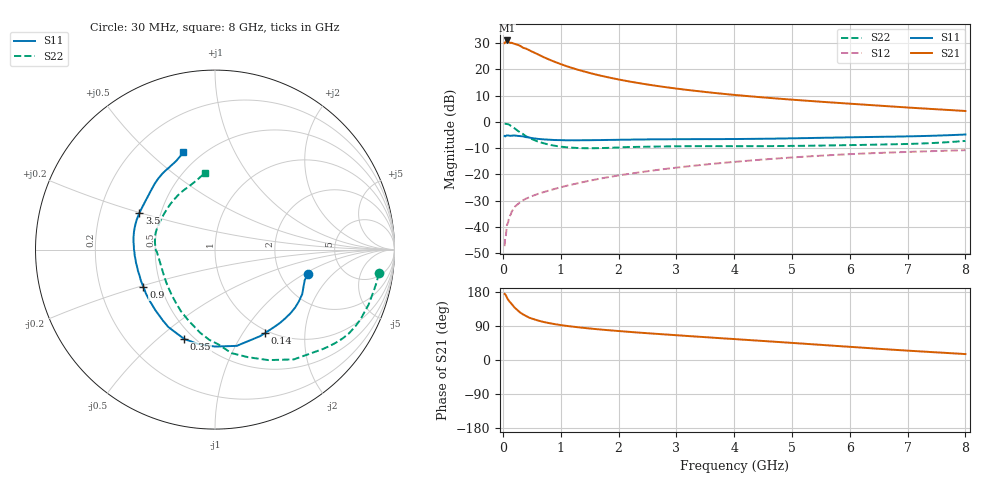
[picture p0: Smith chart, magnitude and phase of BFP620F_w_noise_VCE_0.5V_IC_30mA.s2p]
! Infineon Technologies  Discrete & RF Semiconductors
! BFP620F
! VCE =  0.5 V,  IC =  30 mA
! Common Emitter S-Parameters:  Dec 2014
# GHz  S  MA  R  50
!  f  S11  S21  S12  S22
! GHz  MAG  ANG  MAG  ANG  MAG  ANG  MAG  ANG
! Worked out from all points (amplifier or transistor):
!   95 points, 30 MHz to 8 GHz, reference 50 ohm
!   highest |S21| = 31.0 dB at 70 MHz (marker M1)
!   |S21| within 3 dB of that: start of sweep to 385 MHz
!   unconditionally stable (mu >= 1): 2.184 GHz to end of sweep
!   at 300 MHz: K = 0.34, MSG = 29.7 dB, |S12| = -30.6 dB
!   at 3.3 GHz: K = 1.03, MAG = 13.2 dB, |S12| = -16.7 dB
!   at 8 GHz: K = 1.07, MAG = 5.9 dB, |S12| = -10.8 dB
!   lowest NFmin = 1.13 dB at 450 MHz
!   S11 on the Smith chart (normalised r, x): 30 MHz: 2.86, -1.07; 140 MHz: 0.95, -1.26; 350 MHz: 0.45, -0.61; 900 MHz: 0.40, -0.21; 3.5 GHz: 0.38, +0.20; 8 GHz: 0.40, +0.65
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0.03  0.5363 -14.4  31.47 174.5  0.0043 86.3  0.9215 -8.2
0.05  0.5351 -22.9  33.62 170.9  0.0065 77.9  0.9142 -14.2
0.07  0.5492 -31.7  35.28 164.9  0.011 78.8  0.9087 -19.9
0.09  0.5502 -40.1  34.39 159.4  0.0121 76.2  0.8991 -25.8
0.12  0.5432 -52.1  31.93 153.2  0.016 73.3  0.8656 -35.0
0.14  0.5424 -59.3  31.73 150.0  0.0176 66.6  0.8316 -40.5
0.2  0.5498 -77.3  30.42 138.8  0.0239 63.7  0.7532 -54.3
0.25  0.5403 -90.0  29.36 131.9  0.0266 60.2  0.6838 -64.2
0.3  0.5341 -100.4  27.88 125.2  0.0296 57.1  0.6273 -72.9
0.35  0.5265 -109.0  25.61 120.2  0.0322 56.5  0.5838 -81.0
0.45  0.5035 -121.1  23.21 112.1  0.0363 54.8  0.5039 -93.6
0.6  0.4737 -134.5  19.34 104.5  0.0422 54.3  0.4225 -110.3
0.7  0.4628 -141.6  17.07 100.5  0.0457 54.5  0.3918 -119.1
0.9  0.4496 -152.6  13.78 94.6  0.053 55.5  0.3494 -133.7
1.4  0.4463 -170.6  9.095 84.7  0.0718 57.0  0.3145 -159.9
2  0.4545 175.8  6.397 76.5  0.0954 56.5  0.3243 -177.9
2.7  0.4642 164.6  4.754 68.6  0.1224 53.6  0.3384 171.6
3.5  0.4682 154.0  3.694 60.3  0.1535 49.3  0.3437 162.8
4.1  0.4709 146.9  3.177 54.2  0.1762 45.4  0.3431 155.8
5.4  0.4933 134.0  2.453 41.0  0.2233 35.6  0.3519 137.9
6.7  0.5209 121.1  1.965 27.6  0.2601 24.8  0.3723 119.0
8  0.5733 107.9  1.606 15.6  0.288 14.6  0.4322 97.3
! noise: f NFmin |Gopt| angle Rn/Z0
0.45  1.13  0.05  -172  0.18
0.9  1.16  0.05  -171  0.14
1.5  1.18  0.12  -148  0.15
1.8  1.19  0.12  -147  0.16
1.9  1.19  0.12  -146  0.16
2.4  1.21  0.12  -146  0.17
3.5  1.27  0.14  -141  0.18
5.5  1.42  0.21  241  0.13
6  1.47  0.22  260  0.16
